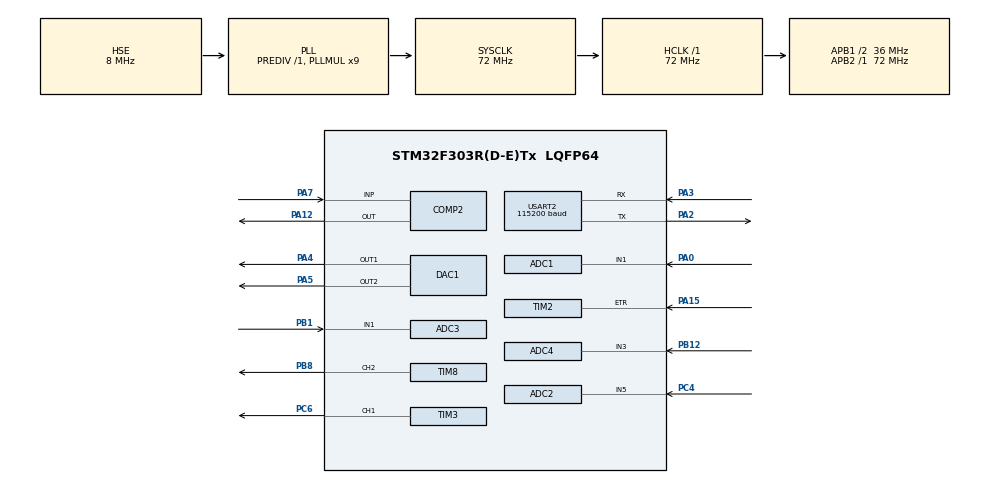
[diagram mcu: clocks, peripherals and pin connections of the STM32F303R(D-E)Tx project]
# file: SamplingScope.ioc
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ADC1.Channel-0\#ChannelRegularConversion=ADC_CHANNEL_1
ADC1.ClockPrescaler=ADC_CLOCK_SYNC_PCLK_DIV1
ADC1.ContinuousConvMode=DISABLE
ADC1.DMAContinuousRequests=ENABLE
ADC1.DiscontinuousConvMode=DISABLE
ADC1.EOCSelection=ADC_EOC_SINGLE_CONV
ADC1.EnableAnalogWatchDog1=false
ADC1.EnableInjectedConversion=DISABLE
ADC1.ExternalTrigConv=ADC_EXTERNALTRIGCONV_T1_CC3
ADC1.NbrOfConversion=1
ADC1.NbrOfConversionFlag=1
ADC1.Offset-0\#ChannelRegularConversion=0
ADC1.OffsetNumber-0\#ChannelRegularConversion=ADC_OFFSET_NONE
ADC1.Rank-0\#ChannelRegularConversion=1
ADC1.Resolution=ADC_RESOLUTION_8B
ADC1.SamplingTime-0\#ChannelRegularConversion=ADC_SAMPLETIME_1CYCLE_5
ADC1.master=1
ADC2.Channel-1\#ChannelRegularConversion=ADC_CHANNEL_5
ADC2.ClockPrescaler=ADC_CLOCK_SYNC_PCLK_DIV1
ADC2.DMAContinuousRequests=ENABLE
ADC2.ExternalTrigConv=ADC_EXTERNALTRIGCONV_T1_CC3
ADC2.NbrOfConversionFlag=1
ADC2.Offset-1\#ChannelRegularConversion=0
ADC2.OffsetNumber-1\#ChannelRegularConversion=ADC_OFFSET_NONE
ADC2.Rank-1\#ChannelRegularConversion=1
ADC2.Resolution=ADC_RESOLUTION_8B
ADC2.SamplingTime-1\#ChannelRegularConversion=ADC_SAMPLETIME_1CYCLE_5
ADC3.Channel-0\#ChannelRegularConversion=ADC_CHANNEL_1
ADC3.ClockPrescaler=ADC_CLOCK_SYNC_PCLK_DIV1
ADC3.DMAContinuousRequests=ENABLE
ADC3.ExternalTrigConv=ADC_EXTERNALTRIGCONV_T1_CC3
ADC3.NbrOfConversionFlag=1
ADC3.Offset-0\#ChannelRegularConversion=0
ADC3.OffsetNumber-0\#ChannelRegularConversion=ADC_OFFSET_NONE
ADC3.Rank-0\#ChannelRegularConversion=1
ADC3.Resolution=ADC_RESOLUTION_8B
ADC3.SamplingTime-0\#ChannelRegularConversion=ADC_SAMPLETIME_1CYCLE_5
ADC3.master=1
ADC4.Channel-0\#ChannelRegularConversion=ADC_CHANNEL_3
ADC4.ClockPrescaler=ADC_CLOCK_SYNC_PCLK_DIV1
ADC4.DMAContinuousRequests=ENABLE
ADC4.ExternalTrigConv=ADC_EXTERNALTRIGCONV_T1_CC3
ADC4.NbrOfConversionFlag=1
ADC4.Offset-0\#ChannelRegularConversion=0
ADC4.OffsetNumber-0\#ChannelRegularConversion=ADC_OFFSET_NONE
ADC4.Rank-0\#ChannelRegularConversion=1
ADC4.Resolution=ADC_RESOLUTION_8B
ADC4.SamplingTime-0\#ChannelRegularConversion=ADC_SAMPLETIME_1CYCLE_5
COMP2.InvertingInput=COMP_INVERTINGINPUT_DAC1_CH2
Dma.ADC1.0.Direction=DMA_PERIPH_TO_MEMORY
Dma.ADC1.0.Instance=DMA1_Channel1
Dma.ADC1.0.MemDataAlignment=DMA_MDATAALIGN_BYTE
Dma.ADC1.0.MemInc=DMA_MINC_ENABLE
Dma.ADC1.0.Mode=DMA_CIRCULAR
Dma.ADC1.0.PeriphDataAlignment=DMA_PDATAALIGN_BYTE
Dma.ADC1.0.PeriphInc=DMA_PINC_DISABLE
Dma.ADC1.0.Priority=DMA_PRIORITY_HIGH
Dma.ADC2.2.Direction=DMA_PERIPH_TO_MEMORY
Dma.ADC2.2.Instance=DMA2_Channel3
Dma.ADC2.2.MemDataAlignment=DMA_MDATAALIGN_BYTE
Dma.ADC2.2.MemInc=DMA_MINC_ENABLE
Dma.ADC2.2.Mode=DMA_CIRCULAR
Dma.ADC2.2.PeriphDataAlignment=DMA_PDATAALIGN_BYTE
Dma.ADC2.2.PeriphInc=DMA_PINC_DISABLE
Dma.ADC2.2.Priority=DMA_PRIORITY_HIGH
Dma.ADC3.3.Direction=DMA_PERIPH_TO_MEMORY
Dma.ADC3.3.Instance=DMA2_Channel5
Dma.ADC3.3.MemDataAlignment=DMA_MDATAALIGN_BYTE
Dma.ADC3.3.MemInc=DMA_MINC_ENABLE
Dma.ADC3.3.Mode=DMA_CIRCULAR
Dma.ADC3.3.PeriphDataAlignment=DMA_PDATAALIGN_BYTE
Dma.ADC3.3.PeriphInc=DMA_PINC_DISABLE
Dma.ADC3.3.Priority=DMA_PRIORITY_MEDIUM
Dma.ADC4.4.Direction=DMA_PERIPH_TO_MEMORY
Dma.ADC4.4.Instance=DMA2_Channel4
Dma.ADC4.4.MemDataAlignment=DMA_MDATAALIGN_BYTE
Dma.ADC4.4.MemInc=DMA_MINC_ENABLE
Dma.ADC4.4.Mode=DMA_NORMAL
Dma.ADC4.4.PeriphDataAlignment=DMA_PDATAALIGN_BYTE
Dma.ADC4.4.PeriphInc=DMA_PINC_DISABLE
Dma.ADC4.4.Priority=DMA_PRIORITY_LOW
Dma.Request0=ADC1
Dma.Request1=TIM2_CH1
Dma.Request2=ADC2
Dma.Request3=ADC3
Dma.Request4=ADC4
Dma.TIM2_CH1.1.Direction=DMA_PERIPH_TO_MEMORY
Dma.TIM2_CH1.1.Instance=DMA1_Channel5
Dma.TIM2_CH1.1.MemDataAlignment=DMA_MDATAALIGN_WORD
Dma.TIM2_CH1.1.MemInc=DMA_MINC_ENABLE
Dma.TIM2_CH1.1.Mode=DMA_CIRCULAR
Dma.TIM2_CH1.1.PeriphDataAlignment=DMA_PDATAALIGN_WORD
Dma.TIM2_CH1.1.PeriphInc=DMA_PINC_DISABLE
Dma.TIM2_CH1.1.Priority=DMA_PRIORITY_LOW
Mcu.Family=STM32F3
Mcu.Name=STM32F303R(D-E)Tx
Mcu.Package=LQFP64
NVIC.ADC1_2_IRQn=true\:0\:0\:false\:false\:true\:true\:true
NVIC.DMA1_Channel1_IRQn=true\:0\:0\:false\:false\:true\:false\:true
NVIC.DMA1_Channel5_IRQn=true\:0\:0\:false\:false\:true\:false\:true
NVIC.DMA2_Channel3_IRQn=true\:0\:0\:false\:false\:true\:false\:true
NVIC.DMA2_Channel4_IRQn=true\:0\:0\:false\:false\:true\:false\:true
NVIC.DMA2_Channel5_IRQn=true\:0\:0\:false\:false\:true\:false\:true
NVIC.PriorityGroup=NVIC_PRIORITYGROUP_4
NVIC.TIM3_IRQn=true\:0\:0\:false\:false\:true\:true\:true
NVIC.USART2_IRQn=true\:0\:0\:false\:false\:true\:true\:true
PA0.Mode=IN1-Single-Ended
PA0.Signal=ADC1_IN1
PA12.Mode=ExternalOutput
PA12.Signal=COMP2_OUT
PA15.Signal=S_TIM2_CH1_ETR
PA2.Mode=Asynchronous
PA2.Signal=USART2_TX
PA3.Mode=Asynchronous
PA3.Signal=USART2_RX
PA4.Signal=COMP_DAC11_group
PA5.Signal=COMP_DAC12_group
PA7.Mode=INP
PA7.Signal=COMP2_INP
PB1.Mode=IN1-Single-Ended
PB1.Signal=ADC3_IN1
PB12.Mode=IN3-Single-Ended
PB12.Signal=ADC4_IN3
PB8.GPIO_Speed=GPIO_SPEED_FREQ_HIGH
PB8.Signal=S_TIM8_CH2
PC4.Mode=IN5-Single-Ended
PC4.Signal=ADC2_IN5
PC6.Signal=S_TIM3_CH1
PF0-OSC_IN.Mode=HSE-External-Clock-Source
PF0-OSC_IN.Signal=RCC_OSC_IN
ProjectManager.HeapSize=0x200
ProjectManager.StackSize=0x400
ProjectManager.TargetToolchain=STM32CubeIDE
RCC.AHBFreq_Value=72000000
RCC.APB1CLKDivider=RCC_HCLK_DIV2
RCC.APB1Freq_Value=36000000
RCC.APB1TimFreq_Value=72000000
RCC.APB2Freq_Value=72000000
RCC.APB2TimFreq_Value=72000000
RCC.CortexFreq_Value=72000000
RCC.HCLKFreq_Value=72000000
RCC.HSE_VALUE=8000000
RCC.HSI_VALUE=8000000
RCC.LSE_VALUE=32768
RCC.PLLMUL=RCC_PLL_MUL9
RCC.PLLSourceVirtual=RCC_PLLSOURCE_HSE
RCC.SYSCLKFreq_VALUE=72000000
RCC.SYSCLKSourceVirtual=RCC_SYSCLKSOURCE_PLLCLK
RCC.TIM1Selection=RCC_TIM1CLK_PLLCLK
RCC.TIM2Selection=RCC_TIM2CLK_PLLCLK
RCC.TIM8Selection=RCC_TIM8CLK_PLLCLK
RCC.USBFreq_Value=72000000
SH.COMP_DAC11_group.0=DAC1_OUT1,DAC_OUT1
SH.COMP_DAC12_group.0=DAC1_OUT2,Enable_DAC_OUT2
SH.S_TIM2_CH1_ETR.0=TIM2_ETR,ClockSourceETR_Mode2
SH.S_TIM3_CH1.0=TIM3_CH1,PWM Generation1 CH1
SH.S_TIM8_CH2.0=TIM8_CH2,PWM Generation2 CH2
TIM1.AutoReloadPreload=TIM_AUTORELOAD_PRELOAD_ENABLE
TIM1.Channel-Output\ Compare3\ No\ Output=TIM_CHANNEL_3
TIM1.OCMode_3=TIM_OCMODE_TOGGLE
TIM1.Period=1000
TIM1.Pulse-Output\ Compare3\ No\ Output=0
TIM1.TIM_MasterOutputTrigger=TIM_TRGO_OC3REF
TIM1.TIM_MasterOutputTrigger2=TIM_TRGO2_UPDATE
TIM2.Channel-Input_Capture1_from_TRC=TIM_CHANNEL_1
TIM2.Period=0xffffffff
TIM2.Prescaler=0
TIM2.TIM_MasterSlaveMode=TIM_MASTERSLAVEMODE_DISABLE
TIM3.AutoReloadPreload=TIM_AUTORELOAD_PRELOAD_ENABLE
TIM3.Channel-PWM\ Generation1\ CH1=TIM_CHANNEL_1
TIM3.Period=999
TIM3.Prescaler=71
TIM3.Pulse-PWM\ Generation1\ CH1=500
TIM3.TIM_MasterOutputTrigger=TIM_TRGO_OC1REF
TIM3.TIM_MasterSlaveMode=TIM_MASTERSLAVEMODE_ENABLE
TIM8.Channel-PWM\ Generation2\ CH2=TIM_CHANNEL_2
TIM8.Period=71
TIM8.Pulse-PWM\ Generation2\ CH2=32
TIM8.RepetitionCounter=0
USART2.BaudRate=115200
USART2.VirtualMode-Asynchronous=VM_ASYNC
VP_ADC4_Vref_Input.Mode=IN-Vrefint
VP_COMP2_VS_DAC1OUT2.Mode=INM_DAC1OUT2
VP_TIM1_VS_ClockSourceINT.Mode=Internal
VP_TIM1_VS_no_output3.Mode=Output Compare3 No Output
VP_TIM2_VS_CH1.Mode=Input_Capture1_from_TRC
VP_TIM2_VS_ClockSourceITR.Mode=TriggerSource_ITR2
VP_TIM2_VS_ControllerModeCombinedResetTrigger.Mode=Combined_Reset_Trigger_Mode
VP_TIM3_VS_ClockSourceINT.Mode=Internal
VP_TIM8_VS_ClockSourceINT.Mode=Internal
board=custom

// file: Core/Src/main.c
/* USER CODE BEGIN Header */
/**
 ******************************************************************************
 * @file           : main.c
 * @brief          : Main program body
 ******************************************************************************
 * @attention
 *
 * <h2><center>&copy; Copyright (c) 2020 STMicroelectronics.
 * All rights reserved.</center></h2>
 *
 * This software component is licensed by ST under BSD 3-Clause license,
 * the "License"; You may not use this file except in compliance with the
 * License. You may obtain a copy of the License at:
 *                        opensource.org/licenses/BSD-3-Clause
 *
 ******************************************************************************
 */
/* USER CODE END Header */

#include "main.h"

/* USER CODE BEGIN Includes */
#include <stdio.h>
#include <stdlib.h>
#include <string.h>
#include <stdbool.h>
/* USER CODE END Includes */

/* USER CODE BEGIN PD */
#define MEAS_BUFFER_SIZE 12000
#define FREQ_BUFFER_SIZE 10
/* USER CODE END PD */

ADC_HandleTypeDef hadc1;
ADC_HandleTypeDef hadc2;
ADC_HandleTypeDef hadc3;
ADC_HandleTypeDef hadc4;
DMA_HandleTypeDef hdma_adc1;
DMA_HandleTypeDef hdma_adc2;
DMA_HandleTypeDef hdma_adc3;
DMA_HandleTypeDef hdma_adc4;

COMP_HandleTypeDef hcomp2;

DAC_HandleTypeDef hdac1;

TIM_HandleTypeDef htim1;
TIM_HandleTypeDef htim2;
TIM_HandleTypeDef htim3;
TIM_HandleTypeDef htim8;
DMA_HandleTypeDef hdma_tim2_ch1;

UART_HandleTypeDef huart2;

/* USER CODE BEGIN PV */
uint8_t value_adc1[MEAS_BUFFER_SIZE];
uint8_t value_adc2[MEAS_BUFFER_SIZE];
uint8_t value_adc3[MEAS_BUFFER_SIZE];
uint8_t value_adc4[MEAS_BUFFER_SIZE];
uint32_t frequency[FREQ_BUFFER_SIZE];

int measure = 0;
int recieve = 0;
int settingsChanged = 0;
int memMultiplier = 1;

uint32_t signalFreq = 0;

//Parsing stuff
uint8_t rx_buff[50];
char settingsStringArray[11][6];

//Scope settings
uint16_t samplingDivider = 511;
uint16_t generatorDivider = 71;
uint16_t comparatorVoltage = 2048;
uint16_t comparatorHysteresis = 1;
bool channel1On = 1;
bool channel2On = 0;
bool channel3On = 0;
bool channel4On = 0;
uint16_t memDepth = 200;
uint8_t bits = 8;
bool channel4Vref = 0;

/* USER CODE END PV */

void SystemClock_Config(void);
static void MX_GPIO_Init(void);
static void MX_DMA_Init(void);
static void MX_ADC1_Init(void);
static void MX_USART2_UART_Init(void);
static void MX_TIM3_Init(void);
static void MX_TIM1_Init(void);
static void MX_TIM2_Init(void);
static void MX_COMP2_Init(void);
static void MX_DAC1_Init(void);
static void MX_ADC2_Init(void);
static void MX_ADC3_Init(void);
static void MX_ADC4_Init(void);
static void MX_TIM8_Init(void);
/* USER CODE BEGIN PFP */
#ifdef __GNUC__
#define PUTCHAR_PROTOTYPE int __io_putchar(int ch)
#else
#define PUTCHAR_PROTOTYPE int fputc(int ch, FILE *f)
#endif
/* USER CODE END PFP */

/* USER CODE BEGIN 0 */
PUTCHAR_PROTOTYPE {
	HAL_UART_Transmit(&huart2, (uint8_t*) &ch, 1, 1000);
	return ch;
}

/*
 * Read data from serial buffer and parse them. No value check is being done here.
 */
void parseSerial() {

	//Make sure, that string array is empty
	for (int i = 0; i < 11; i++) {
		for (int j = 0; j < 6; j++) {
			settingsStringArray[i][j] = '\0';
		}
	}

	//Parse rx buffer into array of string
	if (rx_buff[0] == ':') {
		int bufferPointer = 1;
		for (int settingsPointer = 0; settingsPointer < 11; settingsPointer++) {
			int i = 0;
			while (rx_buff[bufferPointer] != '|' && rx_buff[bufferPointer] != ':' && bufferPointer < 50) {
				settingsStringArray[settingsPointer][i] = rx_buff[bufferPointer];
				i++;
				bufferPointer++;
			}
			bufferPointer++;
			settingsStringArray[settingsPointer][5] = 0;
		}

	//Parse numbers from array of strings into theirs respective variables
	samplingDivider = atoi(settingsStringArray[0]);
	generatorDivider = atoi(settingsStringArray[1]);
	comparatorVoltage = atoi(settingsStringArray[2]);
	comparatorHysteresis = atoi(settingsStringArray[3]);
	channel1On = atoi(settingsStringArray[4]);
	channel2On = atoi(settingsStringArray[5]);
	channel3On = atoi(settingsStringArray[6]);
	channel4On = atoi(settingsStringArray[7]);
	memDepth = atoi(settingsStringArray[8]);
	bits = atoi(settingsStringArray[9]);
	channel4Vref = atoi(settingsStringArray[10]);
	settingsChanged = 1;

	}
}

#define VREFCAL_ADRESS 0x1FFFF7BA	//Address of internal reference voltage calibration value

/*
 * Send all settings and data
 */
void sendSerial(){
	signalFreq = 0;
	for (int i = 0; i < FREQ_BUFFER_SIZE; i++) {
		signalFreq += frequency[i] * 1000;
	}
	signalFreq = signalFreq / FREQ_BUFFER_SIZE;

	printf(":%u|", __HAL_TIM_GET_AUTORELOAD(&htim1));
	if(generatorDivider){
		printf("%u|", (uint16_t)__HAL_TIM_GET_AUTORELOAD(&htim8));
	}else{
		printf("0|");
	}
	printf("%u|", comparatorVoltage);
	printf("%u|", comparatorHysteresis);
	printf("%i|%i|%i|%i|", channel1On, channel2On, channel3On, channel4On);
	printf("%u|", memDepth);
	printf("%u|", bits);
	printf("%i|", channel4Vref);
	printf("%u|", signalFreq);
	uint16_t vrefcal;
	vrefcal = *((uint16_t*)VREFCAL_ADRESS);
	printf("%u:", vrefcal);

	if(channel1On){
		for (int i = 0; i < memDepth*memMultiplier; i++) {
			printf("%c", (char)value_adc1[i]);
		}
	}
	if(channel2On){
		for (int i = 0; i < memDepth*memMultiplier; i++) {
			printf("%c", (char)value_adc2[i]);
		}
	}
	if(channel3On){
		for (int i = 0; i < memDepth*memMultiplier; i++) {
			printf("%c", (char)value_adc3[i]);
		}
	}
	if(channel4On){
		for (int i = 0; i < memDepth*memMultiplier; i++) {
			printf("%c", (char)value_adc4[i]);
		}
	}
	printf("!\n\r");

}

ADC_ChannelConfTypeDef ch4Config = {0};

/*
 * Updates parameters of peripherals
 */
void updateSettings(){
	__HAL_TIM_SET_AUTORELOAD(&htim1, samplingDivider);	//Set divider of sampling timer
	if(generatorDivider == 0){							//Stop generating signal if divider is 0
		HAL_TIM_PWM_Stop(&htim8, TIM_CHANNEL_2);
	}else{
		__HAL_TIM_SET_AUTORELOAD(&htim8, generatorDivider);		//Set divider of signal generator
		__HAL_TIM_SET_COMPARE(&htim8, TIM_CHANNEL_2, generatorDivider / 2);	//Set pulse width of signal generation
		HAL_TIM_PWM_Start(&htim8, TIM_CHANNEL_2);				//Starts signal generation
	}
	HAL_DAC_SetValue(&hdac1, DAC_CHANNEL_2, DAC_ALIGN_12B_R, comparatorVoltage);	//Sets comparator treshold voltage

	if(!channel4Vref){								//Switch between external input and internal reference voltage on CH4
		ch4Config.Channel = ADC_CHANNEL_3;
	}else{
		ch4Config.Channel = ADC_CHANNEL_VREFINT;
	}

	if (HAL_ADC_ConfigChannel(&hadc4, &ch4Config) != HAL_OK)	//Apply CH4 confguration
	{
	  Error_Handler();
	}

}

bool ch1Started = false;
bool ch2Started = false;
bool ch3Started = false;
bool ch4Started = false;

/*
 * Starts sampling on channels that are turned on
 */
void startSampling(){
	if(channel1On){
		HAL_ADC_Start_DMA(&hadc1, (uint32_t*) &value_adc1, memDepth);
		ch1Started = true;
	}
	if(channel2On){
		HAL_ADC_Start_DMA(&hadc2, (uint32_t*) &value_adc2, memDepth);
		ch2Started = true;
	}
	if(channel3On){
		HAL_ADC_Start_DMA(&hadc3, (uint32_t*) &value_adc3, memDepth);
		ch3Started = true;
	}
	if(channel4On){
		HAL_ADC_Start_DMA(&hadc4, (uint32_t*) &value_adc4, memDepth);
		ch4Started = true;
	}

	HAL_TIM_OC_Start(&htim1, TIM_CHANNEL_3);	//Starts the timer that is triggering ADCs
}

/* USER CODE END 0 */

int main(void)
{

  /* MCU Configuration--------------------------------------------------------*/

  /* Reset of all peripherals, Initializes the Flash interface and the Systick. */
  HAL_Init();

  /* Configure the system clock */
  SystemClock_Config();

  /* Initialize all configured peripherals */
  MX_GPIO_Init();
  MX_DMA_Init();
  MX_ADC1_Init();
  MX_USART2_UART_Init();
  MX_TIM3_Init();
  MX_TIM1_Init();
  MX_TIM2_Init();
  MX_COMP2_Init();
  MX_DAC1_Init();
  MX_ADC2_Init();
  MX_ADC3_Init();
  MX_ADC4_Init();
  MX_TIM8_Init();
  /* USER CODE BEGIN 2 */

  	//Starting of peripherals
	HAL_TIM_Base_Start_IT(&htim3);
	HAL_TIM_Base_Start(&htim2);
	HAL_TIM_Base_Start(&htim1);
	HAL_TIM_OC_Start(&htim1, TIM_CHANNEL_3);
	HAL_TIM_IC_Start_DMA(&htim2, TIM_CHANNEL_1, (uint32_t*) &frequency, FREQ_BUFFER_SIZE);
	HAL_TIM_PWM_Start(&htim3, TIM_CHANNEL_1);
	HAL_UART_Receive_IT(&huart2, rx_buff, 50);
	HAL_DAC_Start(&hdac1, DAC_CHANNEL_2);
	HAL_ADC_Start_DMA(&hadc1, (uint32_t*) &value_adc1, memDepth);
	HAL_COMP_Start(&hcomp2);
	HAL_TIM_PWM_Start(&htim8, TIM_CHANNEL_2);

	ch4Config.Channel = ADC_CHANNEL_3;
	ch4Config.Rank = ADC_REGULAR_RANK_1;
	ch4Config.SingleDiff = ADC_SINGLE_ENDED;
	ch4Config.SamplingTime = ADC_SAMPLETIME_1CYCLE_5;
	ch4Config.OffsetNumber = ADC_OFFSET_NONE;
	ch4Config.Offset = 0;

  /* USER CODE END 2 */

  /* Infinite loop */
  /* USER CODE BEGIN WHILE */
	HAL_Delay(10);		//Wait for everything to start. Probably not needed. Just in case.
	// HAL_ADC_Start(&hadc1);

	while (1) {
		if (!measure) {			//If measurement is finished(set by DMA transfer complete interrupt) stop measuring on all channels that were measuring.
			HAL_TIM_OC_Stop(&htim1, TIM_CHANNEL_3);

			if(ch1Started){
				HAL_ADC_Stop_DMA(&hadc1);
				ch1Started = false;
			}
			if(ch2Started){
				HAL_ADC_Stop_DMA(&hadc2);
				ch2Started = false;
			}
			if(ch3Started){
				HAL_ADC_Stop_DMA(&hadc3);
				ch3Started = false;
			}
			if(ch4Started){
				HAL_ADC_Stop_DMA(&hadc4);
				ch4Started = false;
			}

			sendSerial();

			//HAL_Delay(1000);

			if(settingsChanged){
				updateSettings();
			}
			measure = 1;	// Ready for next measurement
		}

		if (recieve && measure) { //If serial data received(set by Rx complete interrupt) and ready to measure

			HAL_Delay(50);
			recieve = 0;
			HAL_UART_Abort_IT(&huart2);
			parseSerial();
			HAL_UART_Receive_IT(&huart2, rx_buff, 50);

			startSampling();
		}

    /* USER CODE END WHILE */

	}
}

void SystemClock_Config(void)
{
  RCC_OscInitTypeDef RCC_OscInitStruct = {0};
  RCC_ClkInitTypeDef RCC_ClkInitStruct = {0};
  RCC_PeriphCLKInitTypeDef PeriphClkInit = {0};

  /** Initializes the CPU, AHB and APB busses clocks
  */
  RCC_OscInitStruct.OscillatorType = RCC_OSCILLATORTYPE_HSE;
  RCC_OscInitStruct.HSEState = RCC_HSE_BYPASS;
  RCC_OscInitStruct.HSIState = RCC_HSI_ON;
  RCC_OscInitStruct.PLL.PLLState = RCC_PLL_ON;
  RCC_OscInitStruct.PLL.PLLSource = RCC_PLLSOURCE_HSE;
  RCC_OscInitStruct.PLL.PLLMUL = RCC_PLL_MUL9;
  RCC_OscInitStruct.PLL.PREDIV = RCC_PREDIV_DIV1;
  if (HAL_RCC_OscConfig(&RCC_OscInitStruct) != HAL_OK)
  {
    Error_Handler();
  }
  /** Initializes the CPU, AHB and APB busses clocks
  */
  RCC_ClkInitStruct.ClockType = RCC_CLOCKTYPE_HCLK|RCC_CLOCKTYPE_SYSCLK
                              |RCC_CLOCKTYPE_PCLK1|RCC_CLOCKTYPE_PCLK2;
  RCC_ClkInitStruct.SYSCLKSource = RCC_SYSCLKSOURCE_PLLCLK;
  RCC_ClkInitStruct.AHBCLKDivider = RCC_SYSCLK_DIV1;
  RCC_ClkInitStruct.APB1CLKDivider = RCC_HCLK_DIV2;
  RCC_ClkInitStruct.APB2CLKDivider = RCC_HCLK_DIV1;

  if (HAL_RCC_ClockConfig(&RCC_ClkInitStruct, FLASH_LATENCY_2) != HAL_OK)
  {
    Error_Handler();
  }
  PeriphClkInit.PeriphClockSelection = RCC_PERIPHCLK_USART2|RCC_PERIPHCLK_TIM1
                              |RCC_PERIPHCLK_TIM8|RCC_PERIPHCLK_TIM2
                              |RCC_PERIPHCLK_TIM34;
  PeriphClkInit.Usart2ClockSelection = RCC_USART2CLKSOURCE_PCLK1;
  PeriphClkInit.Tim1ClockSelection = RCC_TIM1CLK_PLLCLK;
  PeriphClkInit.Tim8ClockSelection = RCC_TIM8CLK_PLLCLK;
  PeriphClkInit.Tim2ClockSelection = RCC_TIM2CLK_PLLCLK;
  PeriphClkInit.Tim34ClockSelection = RCC_TIM34CLK_HCLK;
  if (HAL_RCCEx_PeriphCLKConfig(&PeriphClkInit) != HAL_OK)
  {
    Error_Handler();
  }
}

static void MX_ADC1_Init(void)
{

  ADC_MultiModeTypeDef multimode = {0};
  ADC_ChannelConfTypeDef sConfig = {0};

  /** Common config
  */
  hadc1.Instance = ADC1;
  hadc1.Init.ClockPrescaler = ADC_CLOCK_SYNC_PCLK_DIV1;
  hadc1.Init.Resolution = ADC_RESOLUTION_8B;
  hadc1.Init.ScanConvMode = ADC_SCAN_DISABLE;
  hadc1.Init.ContinuousConvMode = DISABLE;
  hadc1.Init.DiscontinuousConvMode = DISABLE;
  hadc1.Init.ExternalTrigConvEdge = ADC_EXTERNALTRIGCONVEDGE_RISING;
  hadc1.Init.ExternalTrigConv = ADC_EXTERNALTRIGCONV_T1_CC3;
  hadc1.Init.DataAlign = ADC_DATAALIGN_RIGHT;
  hadc1.Init.NbrOfConversion = 1;
  hadc1.Init.DMAContinuousRequests = ENABLE;
  hadc1.Init.EOCSelection = ADC_EOC_SINGLE_CONV;
  hadc1.Init.LowPowerAutoWait = DISABLE;
  hadc1.Init.Overrun = ADC_OVR_DATA_OVERWRITTEN;
  if (HAL_ADC_Init(&hadc1) != HAL_OK)
  {
    Error_Handler();
  }
  /** Configure the ADC multi-mode
  */
  multimode.Mode = ADC_MODE_INDEPENDENT;
  if (HAL_ADCEx_MultiModeConfigChannel(&hadc1, &multimode) != HAL_OK)
  {
    Error_Handler();
  }
  /** Configure Regular Channel
  */
  sConfig.Channel = ADC_CHANNEL_1;
  sConfig.Rank = ADC_REGULAR_RANK_1;
  sConfig.SingleDiff = ADC_SINGLE_ENDED;
  sConfig.SamplingTime = ADC_SAMPLETIME_1CYCLE_5;
  sConfig.OffsetNumber = ADC_OFFSET_NONE;
  sConfig.Offset = 0;
  if (HAL_ADC_ConfigChannel(&hadc1, &sConfig) != HAL_OK)
  {
    Error_Handler();
  }

}

static void MX_ADC2_Init(void)
{

  ADC_ChannelConfTypeDef sConfig = {0};

  /** Common config
  */
  hadc2.Instance = ADC2;
  hadc2.Init.ClockPrescaler = ADC_CLOCK_SYNC_PCLK_DIV1;
  hadc2.Init.Resolution = ADC_RESOLUTION_8B;
  hadc2.Init.ScanConvMode = ADC_SCAN_DISABLE;
  hadc2.Init.ContinuousConvMode = DISABLE;
  hadc2.Init.DiscontinuousConvMode = DISABLE;
  hadc2.Init.ExternalTrigConvEdge = ADC_EXTERNALTRIGCONVEDGE_RISING;
  hadc2.Init.ExternalTrigConv = ADC_EXTERNALTRIGCONV_T1_CC3;
  hadc2.Init.DataAlign = ADC_DATAALIGN_RIGHT;
  hadc2.Init.NbrOfConversion = 1;
  hadc2.Init.DMAContinuousRequests = ENABLE;
  hadc2.Init.EOCSelection = ADC_EOC_SINGLE_CONV;
  hadc2.Init.LowPowerAutoWait = DISABLE;
  hadc2.Init.Overrun = ADC_OVR_DATA_OVERWRITTEN;
  if (HAL_ADC_Init(&hadc2) != HAL_OK)
  {
    Error_Handler();
  }
  /** Configure Regular Channel
  */
  sConfig.Channel = ADC_CHANNEL_5;
  sConfig.Rank = ADC_REGULAR_RANK_1;
  sConfig.SingleDiff = ADC_SINGLE_ENDED;
  sConfig.SamplingTime = ADC_SAMPLETIME_1CYCLE_5;
  sConfig.OffsetNumber = ADC_OFFSET_NONE;
  sConfig.Offset = 0;
  if (HAL_ADC_ConfigChannel(&hadc2, &sConfig) != HAL_OK)
  {
    Error_Handler();
  }

}

static void MX_ADC3_Init(void)
{

  ADC_MultiModeTypeDef multimode = {0};
  ADC_ChannelConfTypeDef sConfig = {0};

  /** Common config
  */
  hadc3.Instance = ADC3;
  hadc3.Init.ClockPrescaler = ADC_CLOCK_SYNC_PCLK_DIV1;
  hadc3.Init.Resolution = ADC_RESOLUTION_8B;
  hadc3.Init.ScanConvMode = ADC_SCAN_DISABLE;
  hadc3.Init.ContinuousConvMode = DISABLE;
  hadc3.Init.DiscontinuousConvMode = DISABLE;
  hadc3.Init.ExternalTrigConvEdge = ADC_EXTERNALTRIGCONVEDGE_RISING;
  hadc3.Init.ExternalTrigConv = ADC_EXTERNALTRIGCONV_T1_CC3;
  hadc3.Init.DataAlign = ADC_DATAALIGN_RIGHT;
  hadc3.Init.NbrOfConversion = 1;
  hadc3.Init.DMAContinuousRequests = ENABLE;
  hadc3.Init.EOCSelection = ADC_EOC_SINGLE_CONV;
  hadc3.Init.LowPowerAutoWait = DISABLE;
  hadc3.Init.Overrun = ADC_OVR_DATA_OVERWRITTEN;
  if (HAL_ADC_Init(&hadc3) != HAL_OK)
  {
    Error_Handler();
  }
  /** Configure the ADC multi-mode
  */
  multimode.Mode = ADC_MODE_INDEPENDENT;
  if (HAL_ADCEx_MultiModeConfigChannel(&hadc3, &multimode) != HAL_OK)
  {
    Error_Handler();
  }
  /** Configure Regular Channel
  */
  sConfig.Channel = ADC_CHANNEL_1;
  sConfig.Rank = ADC_REGULAR_RANK_1;
  sConfig.SingleDiff = ADC_SINGLE_ENDED;
  sConfig.SamplingTime = ADC_SAMPLETIME_1CYCLE_5;
  sConfig.OffsetNumber = ADC_OFFSET_NONE;
  sConfig.Offset = 0;
  if (HAL_ADC_ConfigChannel(&hadc3, &sConfig) != HAL_OK)
  {
    Error_Handler();
  }

}

static void MX_ADC4_Init(void)
{

  ADC_ChannelConfTypeDef sConfig = {0};

  /** Common config
  */
  hadc4.Instance = ADC4;
  hadc4.Init.ClockPrescaler = ADC_CLOCK_SYNC_PCLK_DIV1;
  hadc4.Init.Resolution = ADC_RESOLUTION_8B;
  hadc4.Init.ScanConvMode = ADC_SCAN_DISABLE;
  hadc4.Init.ContinuousConvMode = DISABLE;
  hadc4.Init.DiscontinuousConvMode = DISABLE;
  hadc4.Init.ExternalTrigConvEdge = ADC_EXTERNALTRIGCONVEDGE_RISING;
  hadc4.Init.ExternalTrigConv = ADC_EXTERNALTRIGCONV_T1_CC3;
  hadc4.Init.DataAlign = ADC_DATAALIGN_RIGHT;
  hadc4.Init.NbrOfConversion = 1;
  hadc4.Init.DMAContinuousRequests = ENABLE;
  hadc4.Init.EOCSelection = ADC_EOC_SINGLE_CONV;
  hadc4.Init.LowPowerAutoWait = DISABLE;
  hadc4.Init.Overrun = ADC_OVR_DATA_OVERWRITTEN;
  if (HAL_ADC_Init(&hadc4) != HAL_OK)
  {
    Error_Handler();
  }
  /** Configure Regular Channel
  */
  sConfig.Channel = ADC_CHANNEL_3;
  sConfig.Rank = ADC_REGULAR_RANK_1;
  sConfig.SingleDiff = ADC_SINGLE_ENDED;
  sConfig.SamplingTime = ADC_SAMPLETIME_1CYCLE_5;
  sConfig.OffsetNumber = ADC_OFFSET_NONE;
  sConfig.Offset = 0;
  if (HAL_ADC_ConfigChannel(&hadc4, &sConfig) != HAL_OK)
  {
    Error_Handler();
  }

}

static void MX_COMP2_Init(void)
{

  hcomp2.Instance = COMP2;
  hcomp2.Init.InvertingInput = COMP_INVERTINGINPUT_DAC1_CH2;
  hcomp2.Init.NonInvertingInput = COMP_NONINVERTINGINPUT_IO1;
  hcomp2.Init.Output = COMP_OUTPUT_NONE;
  hcomp2.Init.OutputPol = COMP_OUTPUTPOL_NONINVERTED;
  hcomp2.Init.BlankingSrce = COMP_BLANKINGSRCE_NONE;
  hcomp2.Init.TriggerMode = COMP_TRIGGERMODE_NONE;
  if (HAL_COMP_Init(&hcomp2) != HAL_OK)
  {
    Error_Handler();
  }

}

static void MX_DAC1_Init(void)
{

  DAC_ChannelConfTypeDef sConfig = {0};

  /** DAC Initialization
  */
  hdac1.Instance = DAC1;
  if (HAL_DAC_Init(&hdac1) != HAL_OK)
  {
    Error_Handler();
  }
  /** DAC channel OUT1 config
  */
  sConfig.DAC_Trigger = DAC_TRIGGER_NONE;
  sConfig.DAC_OutputBuffer = DAC_OUTPUTBUFFER_ENABLE;
  if (HAL_DAC_ConfigChannel(&hdac1, &sConfig, DAC_CHANNEL_1) != HAL_OK)
  {
    Error_Handler();
  }
  /** DAC channel OUT2 config
  */
  if (HAL_DAC_ConfigChannel(&hdac1, &sConfig, DAC_CHANNEL_2) != HAL_OK)
  {
    Error_Handler();
  }

}

static void MX_TIM1_Init(void)
{

  TIM_ClockConfigTypeDef sClockSourceConfig = {0};
  TIM_MasterConfigTypeDef sMasterConfig = {0};
  TIM_OC_InitTypeDef sConfigOC = {0};
  TIM_BreakDeadTimeConfigTypeDef sBreakDeadTimeConfig = {0};

  htim1.Instance = TIM1;
  htim1.Init.Prescaler = 0;
  htim1.Init.CounterMode = TIM_COUNTERMODE_UP;
  htim1.Init.Period = 1000;
  htim1.Init.ClockDivision = TIM_CLOCKDIVISION_DIV1;
  htim1.Init.RepetitionCounter = 0;
  htim1.Init.AutoReloadPreload = TIM_AUTORELOAD_PRELOAD_ENABLE;
  if (HAL_TIM_Base_Init(&htim1) != HAL_OK)
  {
    Error_Handler();
  }
  sClockSourceConfig.ClockSource = TIM_CLOCKSOURCE_INTERNAL;
  if (HAL_TIM_ConfigClockSource(&htim1, &sClockSourceConfig) != HAL_OK)
  {
    Error_Handler();
  }
  if (HAL_TIM_OC_Init(&htim1) != HAL_OK)
  {
    Error_Handler();
  }
  sMasterConfig.MasterOutputTrigger = TIM_TRGO_OC3REF;
  sMasterConfig.MasterOutputTrigger2 = TIM_TRGO2_UPDATE;
  sMasterConfig.MasterSlaveMode = TIM_MASTERSLAVEMODE_DISABLE;
  if (HAL_TIMEx_MasterConfigSynchronization(&htim1, &sMasterConfig) != HAL_OK)
  {
    Error_Handler();
  }
  sConfigOC.OCMode = TIM_OCMODE_TOGGLE;
  sConfigOC.Pulse = 0;
  sConfigOC.OCPolarity = TIM_OCPOLARITY_HIGH;
  sConfigOC.OCNPolarity = TIM_OCNPOLARITY_HIGH;
  sConfigOC.OCFastMode = TIM_OCFAST_DISABLE;
  sConfigOC.OCIdleState = TIM_OCIDLESTATE_RESET;
  sConfigOC.OCNIdleState = TIM_OCNIDLESTATE_RESET;
  if (HAL_TIM_OC_ConfigChannel(&htim1, &sConfigOC, TIM_CHANNEL_3) != HAL_OK)
  {
    Error_Handler();
  }
  sBreakDeadTimeConfig.OffStateRunMode = TIM_OSSR_DISABLE;
  sBreakDeadTimeConfig.OffStateIDLEMode = TIM_OSSI_DISABLE;
  sBreakDeadTimeConfig.LockLevel = TIM_LOCKLEVEL_OFF;
  sBreakDeadTimeConfig.DeadTime = 0;
  sBreakDeadTimeConfig.BreakState = TIM_BREAK_DISABLE;
  sBreakDeadTimeConfig.BreakPolarity = TIM_BREAKPOLARITY_HIGH;
  sBreakDeadTimeConfig.BreakFilter = 0;
  sBreakDeadTimeConfig.Break2State = TIM_BREAK2_DISABLE;
  sBreakDeadTimeConfig.Break2Polarity = TIM_BREAK2POLARITY_HIGH;
  sBreakDeadTimeConfig.Break2Filter = 0;
  sBreakDeadTimeConfig.AutomaticOutput = TIM_AUTOMATICOUTPUT_DISABLE;
  if (HAL_TIMEx_ConfigBreakDeadTime(&htim1, &sBreakDeadTimeConfig) != HAL_OK)
  {
    Error_Handler();
  }

}

static void MX_TIM2_Init(void)
{

  TIM_ClockConfigTypeDef sClockSourceConfig = {0};
  TIM_SlaveConfigTypeDef sSlaveConfig = {0};
  TIM_MasterConfigTypeDef sMasterConfig = {0};
  TIM_IC_InitTypeDef sConfigIC = {0};

  htim2.Instance = TIM2;
  htim2.Init.Prescaler = 0;
  htim2.Init.CounterMode = TIM_COUNTERMODE_UP;
  htim2.Init.Period = 0xffffffff;
  htim2.Init.ClockDivision = TIM_CLOCKDIVISION_DIV1;
  htim2.Init.AutoReloadPreload = TIM_AUTORELOAD_PRELOAD_DISABLE;
  if (HAL_TIM_Base_Init(&htim2) != HAL_OK)
  {
    Error_Handler();
  }
  sClockSourceConfig.ClockSource = TIM_CLOCKSOURCE_ETRMODE2;
  sClockSourceConfig.ClockPolarity = TIM_CLOCKPOLARITY_NONINVERTED;
  sClockSourceConfig.ClockPrescaler = TIM_CLOCKPRESCALER_DIV1;
  sClockSourceConfig.ClockFilter = 0;
  if (HAL_TIM_ConfigClockSource(&htim2, &sClockSourceConfig) != HAL_OK)
  {
    Error_Handler();
  }
  if (HAL_TIM_IC_Init(&htim2) != HAL_OK)
  {
    Error_Handler();
  }
  sSlaveConfig.SlaveMode = TIM_SLAVEMODE_COMBINED_RESETTRIGGER;
  sSlaveConfig.InputTrigger = TIM_TS_ITR2;
  if (HAL_TIM_SlaveConfigSynchro(&htim2, &sSlaveConfig) != HAL_OK)
  {
    Error_Handler();
  }
  sMasterConfig.MasterOutputTrigger = TIM_TRGO_RESET;
  sMasterConfig.MasterSlaveMode = TIM_MASTERSLAVEMODE_DISABLE;
  if (HAL_TIMEx_MasterConfigSynchronization(&htim2, &sMasterConfig) != HAL_OK)
  {
    Error_Handler();
  }
  sConfigIC.ICPolarity = TIM_INPUTCHANNELPOLARITY_RISING;
  sConfigIC.ICSelection = TIM_ICSELECTION_TRC;
  sConfigIC.ICPrescaler = TIM_ICPSC_DIV1;
  sConfigIC.ICFilter = 0;
  if (HAL_TIM_IC_ConfigChannel(&htim2, &sConfigIC, TIM_CHANNEL_1) != HAL_OK)
  {
    Error_Handler();
  }

}

static void MX_TIM3_Init(void)
{

  TIM_ClockConfigTypeDef sClockSourceConfig = {0};
  TIM_MasterConfigTypeDef sMasterConfig = {0};
  TIM_OC_InitTypeDef sConfigOC = {0};

  htim3.Instance = TIM3;
  htim3.Init.Prescaler = 71;
  htim3.Init.CounterMode = TIM_COUNTERMODE_UP;
  htim3.Init.Period = 999;
  htim3.Init.ClockDivision = TIM_CLOCKDIVISION_DIV1;
  htim3.Init.AutoReloadPreload = TIM_AUTORELOAD_PRELOAD_ENABLE;
  if (HAL_TIM_Base_Init(&htim3) != HAL_OK)
  {
    Error_Handler();
  }
  sClockSourceConfig.ClockSource = TIM_CLOCKSOURCE_INTERNAL;
  if (HAL_TIM_ConfigClockSource(&htim3, &sClockSourceConfig) != HAL_OK)
  {
    Error_Handler();
  }
  if (HAL_TIM_PWM_Init(&htim3) != HAL_OK)
  {
    Error_Handler();
  }
  sMasterConfig.MasterOutputTrigger = TIM_TRGO_OC1REF;
  sMasterConfig.MasterSlaveMode = TIM_MASTERSLAVEMODE_ENABLE;
  if (HAL_TIMEx_MasterConfigSynchronization(&htim3, &sMasterConfig) != HAL_OK)
  {
    Error_Handler();
  }
  sConfigOC.OCMode = TIM_OCMODE_PWM1;
  sConfigOC.Pulse = 500;
  sConfigOC.OCPolarity = TIM_OCPOLARITY_HIGH;
  sConfigOC.OCFastMode = TIM_OCFAST_DISABLE;
  if (HAL_TIM_PWM_ConfigChannel(&htim3, &sConfigOC, TIM_CHANNEL_1) != HAL_OK)
  {
    Error_Handler();
  }
  HAL_TIM_MspPostInit(&htim3);

}

static void MX_TIM8_Init(void)
{

  TIM_ClockConfigTypeDef sClockSourceConfig = {0};
  TIM_MasterConfigTypeDef sMasterConfig = {0};
  TIM_OC_InitTypeDef sConfigOC = {0};
  TIM_BreakDeadTimeConfigTypeDef sBreakDeadTimeConfig = {0};

  htim8.Instance = TIM8;
  htim8.Init.Prescaler = 0;
  htim8.Init.CounterMode = TIM_COUNTERMODE_UP;
  htim8.Init.Period = 71;
  htim8.Init.ClockDivision = TIM_CLOCKDIVISION_DIV1;
  htim8.Init.RepetitionCounter = 0;
  htim8.Init.AutoReloadPreload = TIM_AUTORELOAD_PRELOAD_DISABLE;
  if (HAL_TIM_Base_Init(&htim8) != HAL_OK)
  {
    Error_Handler();
  }
  sClockSourceConfig.ClockSource = TIM_CLOCKSOURCE_INTERNAL;
  if (HAL_TIM_ConfigClockSource(&htim8, &sClockSourceConfig) != HAL_OK)
  {
    Error_Handler();
  }
  if (HAL_TIM_PWM_Init(&htim8) != HAL_OK)
  {
    Error_Handler();
  }
  sMasterConfig.MasterOutputTrigger = TIM_TRGO_RESET;
  sMasterConfig.MasterOutputTrigger2 = TIM_TRGO2_RESET;
  sMasterConfig.MasterSlaveMode = TIM_MASTERSLAVEMODE_DISABLE;
  if (HAL_TIMEx_MasterConfigSynchronization(&htim8, &sMasterConfig) != HAL_OK)
  {
    Error_Handler();
  }
  sConfigOC.OCMode = TIM_OCMODE_PWM1;
  sConfigOC.Pulse = 32;
  sConfigOC.OCPolarity = TIM_OCPOLARITY_HIGH;
  sConfigOC.OCNPolarity = TIM_OCNPOLARITY_HIGH;
  sConfigOC.OCFastMode = TIM_OCFAST_DISABLE;
  sConfigOC.OCIdleState = TIM_OCIDLESTATE_RESET;
  sConfigOC.OCNIdleState = TIM_OCNIDLESTATE_RESET;
  if (HAL_TIM_PWM_ConfigChannel(&htim8, &sConfigOC, TIM_CHANNEL_2) != HAL_OK)
  {
    Error_Handler();
  }
  sBreakDeadTimeConfig.OffStateRunMode = TIM_OSSR_DISABLE;
  sBreakDeadTimeConfig.OffStateIDLEMode = TIM_OSSI_DISABLE;
  sBreakDeadTimeConfig.LockLevel = TIM_LOCKLEVEL_OFF;
  sBreakDeadTimeConfig.DeadTime = 0;
  sBreakDeadTimeConfig.BreakState = TIM_BREAK_DISABLE;
  sBreakDeadTimeConfig.BreakPolarity = TIM_BREAKPOLARITY_HIGH;
  sBreakDeadTimeConfig.BreakFilter = 0;
  sBreakDeadTimeConfig.Break2State = TIM_BREAK2_DISABLE;
  sBreakDeadTimeConfig.Break2Polarity = TIM_BREAK2POLARITY_HIGH;
  sBreakDeadTimeConfig.Break2Filter = 0;
  sBreakDeadTimeConfig.AutomaticOutput = TIM_AUTOMATICOUTPUT_DISABLE;
  if (HAL_TIMEx_ConfigBreakDeadTime(&htim8, &sBreakDeadTimeConfig) != HAL_OK)
  {
    Error_Handler();
  }
  HAL_TIM_MspPostInit(&htim8);

}

static void MX_USART2_UART_Init(void)
{

  huart2.Instance = USART2;
  huart2.Init.BaudRate = 115200;
  huart2.Init.WordLength = UART_WORDLENGTH_8B;
  huart2.Init.StopBits = UART_STOPBITS_1;
  huart2.Init.Parity = UART_PARITY_NONE;
  huart2.Init.Mode = UART_MODE_TX_RX;
  huart2.Init.HwFlowCtl = UART_HWCONTROL_NONE;
  huart2.Init.OverSampling = UART_OVERSAMPLING_16;
  huart2.Init.OneBitSampling = UART_ONE_BIT_SAMPLE_DISABLE;
  huart2.AdvancedInit.AdvFeatureInit = UART_ADVFEATURE_NO_INIT;
  if (HAL_UART_Init(&huart2) != HAL_OK)
  {
    Error_Handler();
  }

}

static void MX_DMA_Init(void)
{

  /* DMA controller clock enable */
  __HAL_RCC_DMA1_CLK_ENABLE();
  __HAL_RCC_DMA2_CLK_ENABLE();

  /* DMA interrupt init */
  /* DMA1_Channel1_IRQn interrupt configuration */
  HAL_NVIC_SetPriority(DMA1_Channel1_IRQn, 0, 0);
  HAL_NVIC_EnableIRQ(DMA1_Channel1_IRQn);
  /* DMA1_Channel5_IRQn interrupt configuration */
  HAL_NVIC_SetPriority(DMA1_Channel5_IRQn, 0, 0);
  HAL_NVIC_EnableIRQ(DMA1_Channel5_IRQn);
  /* DMA2_Channel3_IRQn interrupt configuration */
  HAL_NVIC_SetPriority(DMA2_Channel3_IRQn, 0, 0);
  HAL_NVIC_EnableIRQ(DMA2_Channel3_IRQn);
  /* DMA2_Channel4_IRQn interrupt configuration */
  HAL_NVIC_SetPriority(DMA2_Channel4_IRQn, 0, 0);
  HAL_NVIC_EnableIRQ(DMA2_Channel4_IRQn);
  /* DMA2_Channel5_IRQn interrupt configuration */
  HAL_NVIC_SetPriority(DMA2_Channel5_IRQn, 0, 0);
  HAL_NVIC_EnableIRQ(DMA2_Channel5_IRQn);

}

static void MX_GPIO_Init(void)
{

  /* GPIO Ports Clock Enable */
  __HAL_RCC_GPIOF_CLK_ENABLE();
  __HAL_RCC_GPIOA_CLK_ENABLE();
  __HAL_RCC_GPIOC_CLK_ENABLE();
  __HAL_RCC_GPIOB_CLK_ENABLE();

}

/* USER CODE BEGIN 4 */
void HAL_ADC_ConvCpltCallback(ADC_HandleTypeDef *hadc1) {
	measure = 0;
}

void HAL_UART_RxCpltCallback(UART_HandleTypeDef *huart2) {
	recieve = 1;
}

/* USER CODE END 4 */

void Error_Handler(void)
{
}

/************************ (C) COPYRIGHT STMicroelectronics *****END OF FILE****/
